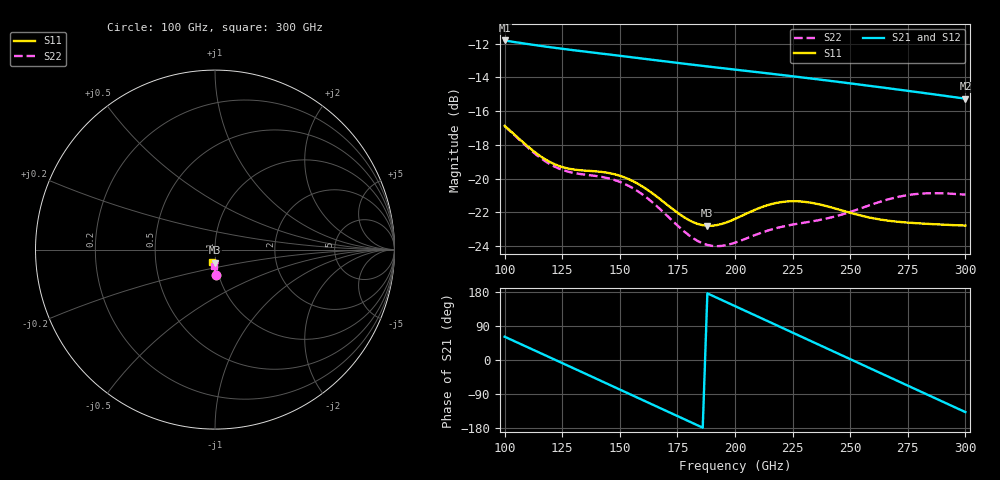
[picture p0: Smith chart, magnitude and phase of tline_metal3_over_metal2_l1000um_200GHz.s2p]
#  GHZ S DB R 50
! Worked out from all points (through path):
!   101 points, 100 GHz to 300 GHz, reference 50 ohm
!   highest |S21| = -11.81 dB at 100 GHz (marker M1); lowest = -15.3 dB at 300 GHz (marker M2)
!   group delay of S21, straight-line fit = 7.77 ps
!   lowest |S11| = -22.8 dB at 188 GHz (marker M3), VSWR 1.16, Z = 49.3 - j7.19 ohm
!   |S11| at or under -10 dB: start of sweep to end of sweep
!   |S22| runs from -24.0 to -16.9 dB; largest |S21 - S12| = 2.7e-13
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100  -16.87 -87.5  -11.81 61.5  -11.81 61.5  -16.88 -87.2
110  -18.08 -89.8  -12.02 33.7  -12.02 33.7  -18.14 -89.6
118  -18.88 -89.4  -12.17 11.4  -12.17 11.4  -19.00 -89.2
126  -19.35 -88.2  -12.32 -10.9  -12.32 -10.9  -19.52 -88.0
134  -19.51 -88.0  -12.45 -33.2  -12.45 -33.2  -19.74 -87.7
144  -19.63 -90.2  -12.62 -61.1  -12.62 -61.1  -19.94 -89.8
152  -19.92 -93.4  -12.75 -83.5  -12.75 -83.5  -20.30 -93.0
160  -20.48 -96.5  -12.88 -105.9  -12.88 -105.9  -20.95 -96.1
168  -21.27 -98.3  -13.02 -128.3  -13.02 -128.3  -21.87 -97.8
178  -22.29 -96.7  -13.19 -156.3  -13.19 -156.3  -23.13 -95.8
188  -22.79 -91.6  -13.35 175.8  -13.35 175.8  -23.92 -89.5
200  -22.38 -86.9  -13.53 142.3  -13.53 142.3  -23.79 -81.9
208  -21.88 -87.0  -13.66 119.9  -13.66 119.9  -23.37 -79.6
216  -21.50 -89.3  -13.79 97.5  -13.79 97.5  -23.00 -79.1
224  -21.34 -92.7  -13.91 75.1  -13.91 75.1  -22.74 -79.3
234  -21.45 -96.9  -14.08 47.0  -14.08 47.0  -22.51 -79.6
242  -21.71 -99.6  -14.21 24.6  -14.21 24.6  -22.28 -79.6
250  -22.02 -101.2  -14.35 2.3  -14.35 2.3  -21.97 -79.9
258  -22.29 -102.0  -14.49 -20.1  -14.49 -20.1  -21.59 -81.0
268  -22.51 -102.5  -14.67 -48.1  -14.67 -48.1  -21.17 -83.8
284  -22.68 -103.5  -14.96 -92.8  -14.96 -92.8  -20.86 -89.7
300  -22.78 -104.9  -15.26 -137.5  -15.26 -137.5  -20.94 -94.7
